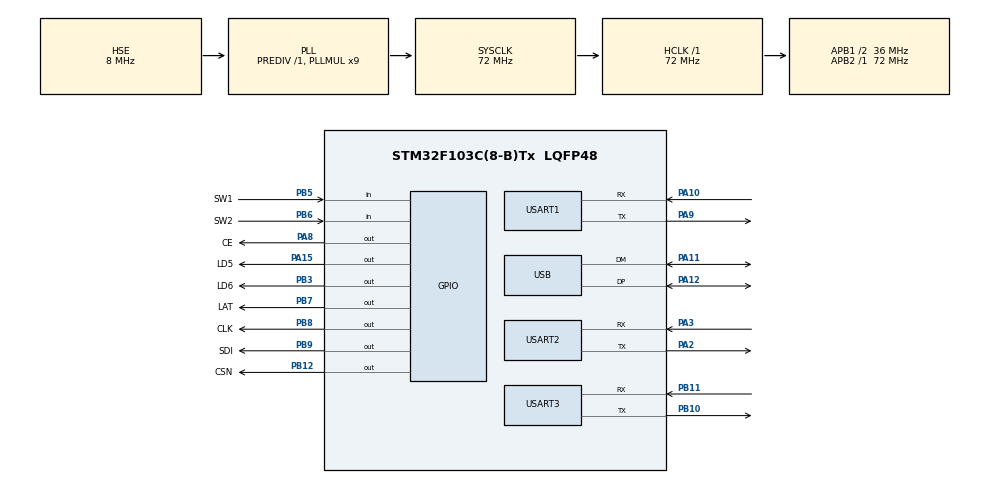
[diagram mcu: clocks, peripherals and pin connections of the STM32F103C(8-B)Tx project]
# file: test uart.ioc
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Mcu.Family=STM32F1
Mcu.Name=STM32F103C(8-B)Tx
Mcu.Package=LQFP48
NVIC.PriorityGroup=NVIC_PRIORITYGROUP_4
NVIC.USART1_IRQn=true\:0\:0\:false\:false\:true\:true\:true
NVIC.USART2_IRQn=true\:0\:0\:false\:false\:true\:true\:true
NVIC.USART3_IRQn=true\:0\:0\:false\:false\:true\:true\:true
NVIC.USB_LP_CAN1_RX0_IRQn=true\:0\:0\:false\:false\:true\:false\:true
PA0-WKUP.GPIO_Label=POT3
PA0-WKUP.Signal=ADCx_IN0
PA1.GPIO_Label=POT2
PA1.Signal=ADCx_IN1
PA10.Mode=Asynchronous
PA10.Signal=USART1_RX
PA11.Mode=Device
PA11.Signal=USB_DM
PA12.Mode=Device
PA12.Signal=USB_DP
PA13.GPIO_Label=SWDIO
PA13.Mode=Serial_Wire
PA13.Signal=SYS_JTMS-SWDIO
PA14.GPIO_Label=SWCLK
PA14.Mode=Serial_Wire
PA14.Signal=SYS_JTCK-SWCLK
PA15.GPIO_Label=LD5
PA15.GPIO_ModeDefaultOutputPP=GPIO_MODE_OUTPUT_PP
PA15.GPIO_PuPd=GPIO_NOPULL
PA15.GPIO_Speed=GPIO_SPEED_FREQ_HIGH
PA15.PinState=GPIO_PIN_RESET
PA15.Signal=GPIO_Output
PA2.Mode=Asynchronous
PA2.Signal=USART2_TX
PA3.Mode=Asynchronous
PA3.Signal=USART2_RX
PA8.GPIO_Label=CE
PA8.GPIO_Speed=GPIO_SPEED_FREQ_HIGH
PA8.Signal=GPIO_Output
PA9.Mode=Asynchronous
PA9.Signal=USART1_TX
PB10.Mode=Asynchronous
PB10.Signal=USART3_TX
PB11.Mode=Asynchronous
PB11.Signal=USART3_RX
PB12.GPIO_Label=CSN
PB12.GPIO_Speed=GPIO_SPEED_FREQ_HIGH
PB12.Signal=GPIO_Output
PB13.GPIO_Label=SCK
PB13.Signal=SPI2_SCK
PB14.GPIO_Label=MISO
PB14.Signal=SPI2_MISO
PB15.GPIO_Label=MOSI
PB15.Signal=SPI2_MOSI
PB3.GPIO_Label=LD6
PB3.GPIO_ModeDefaultOutputPP=GPIO_MODE_OUTPUT_PP
PB3.GPIO_PuPd=GPIO_NOPULL
PB3.GPIO_Speed=GPIO_SPEED_FREQ_HIGH
PB3.PinState=GPIO_PIN_RESET
PB3.Signal=GPIO_Output
PB5.GPIO_Label=SW1
PB5.GPIO_Mode=GPIO_MODE_INPUT
PB5.GPIO_PuPd=GPIO_NOPULL
PB5.Signal=GPIO_Input
PB6.GPIO_Label=SW2
PB6.GPIO_Mode=GPIO_MODE_INPUT
PB6.GPIO_PuPd=GPIO_NOPULL
PB6.Signal=GPIO_Input
PB7.GPIO_Label=LAT
PB7.GPIO_ModeDefaultOutputPP=GPIO_MODE_OUTPUT_OD
PB7.GPIO_Speed=GPIO_SPEED_FREQ_HIGH
PB7.PinState=GPIO_PIN_RESET
PB7.Signal=GPIO_Output
PB8.GPIO_Label=CLK
PB8.GPIO_ModeDefaultOutputPP=GPIO_MODE_OUTPUT_OD
PB8.GPIO_Speed=GPIO_SPEED_FREQ_HIGH
PB8.PinState=GPIO_PIN_RESET
PB8.Signal=GPIO_Output
PB9.GPIO_Label=SDI
PB9.GPIO_ModeDefaultOutputPP=GPIO_MODE_OUTPUT_OD
PB9.GPIO_Speed=GPIO_SPEED_FREQ_HIGH
PB9.PinState=GPIO_PIN_RESET
PB9.Signal=GPIO_Output
PD0-OSC_IN.GPIO_Label=OSC_IN
PD0-OSC_IN.Mode=HSE-External-Oscillator
PD0-OSC_IN.Signal=RCC_OSC_IN
PD1-OSC_OUT.GPIO_Label=OSC_OUT
PD1-OSC_OUT.Mode=HSE-External-Oscillator
PD1-OSC_OUT.Signal=RCC_OSC_OUT
ProjectManager.HeapSize=0x200
ProjectManager.StackSize=0x400
ProjectManager.TargetToolchain=MDK-ARM V5.27
RCC.ADCPresc=RCC_ADCPCLK2_DIV6
RCC.AHBFreq_Value=72000000
RCC.APB1CLKDivider=RCC_HCLK_DIV2
RCC.APB1Freq_Value=36000000
RCC.APB1TimFreq_Value=72000000
RCC.APB2Freq_Value=72000000
RCC.APB2TimFreq_Value=72000000
RCC.HCLKFreq_Value=72000000
RCC.PLLMUL=RCC_PLL_MUL9
RCC.PLLSourceVirtual=RCC_PLLSOURCE_HSE
RCC.SYSCLKFreq_VALUE=72000000
RCC.SYSCLKSource=RCC_SYSCLKSOURCE_PLLCLK
RCC.USBFreq_Value=48000000
RCC.USBPrescaler=RCC_USBCLKSOURCE_PLL_DIV1_5
SH.ADCx_IN0.0=ADC1_IN0
SH.ADCx_IN1.0=ADC1_IN1
USART1.VirtualMode=VM_ASYNC
USART2.VirtualMode=VM_ASYNC
USART3.VirtualMode=VM_ASYNC
USB_DEVICE.CLASS_NAME_FS=CDC
USB_DEVICE.VirtualMode=Cdc
USB_DEVICE.VirtualModeFS=Cdc_FS
VP_USB_DEVICE_VS_USB_DEVICE_CDC_FS.Mode=CDC_FS
board=custom

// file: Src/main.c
/* USER CODE BEGIN Header */
/**
  ******************************************************************************
  * @file           : main.c
  * @brief          : Main program body
  ******************************************************************************
  * @attention
  *
  * Copyright (c) 2023 STMicroelectronics.
  * All rights reserved.
  *
  * This software is licensed under terms that can be found in the LICENSE file
  * in the root directory of this software component.
  * If no LICENSE file comes with this software, it is provided AS-IS.
  *
  ******************************************************************************
  */
/* USER CODE END Header */
#include "main.h"
#include "usart.h"
#include "usb_device.h"
#include "gpio.h"

/* USER CODE BEGIN Includes */

#include "usbd_cdc_if.h"
#include "string.h"

/* USER CODE END Includes */

/* USER CODE BEGIN PV */
uint8_t buffer[2000]; //usb protocol recieve data from pc
uint8_t tx_buffer1[1000]; //usart from micro to pc(uart)
uint8_t tx_buffer2[1000]; //usart from micro to pc(uart)
uint8_t tx_buffer3[1000]; //usart from micro to pc(uart)
uint8_t rx_buffer[100];
extern USBD_HandleTypeDef hUsbDeviceFS;
extern uint8_t CDC_Transmit_FS(uint8_t* Buf, uint16_t Len);

uint16_t oldPos = 0;
uint16_t newPos = 0;

/* USER CODE END PV */

void SystemClock_Config(void);

/* USER CODE BEGIN 0 */

//uart transmits usb recieves
void HAL_UART_TxCpltCallback (UART_HandleTypeDef *huart){
	//HAL_GPIO_TogglePin(GPIOA, GPIO_PIN_15);

	if (huart->Instance == USART2){
	memset (tx_buffer1, '\0', 1000);  // clear the buffer
	USBD_CDC_SetRxBuffer(&hUsbDeviceFS, &tx_buffer1[0]);
  USBD_CDC_ReceivePacket(&hUsbDeviceFS);
	}
	}

//uart recieves usb transfers

	void HAL_UARTEx_RxEventCallback (UART_HandleTypeDef *huart , uint16_t Size)
	{
		//HAL_GPIO_TogglePin(GPIOB, GPIO_PIN_3);
    oldPos = newPos;
		if (huart->Instance == USART2 )
	{
		if (oldPos+Size > 2000)  // If the current position + new data size is greater than the main buffer
		{
			uint16_t datatocopy = 2000-oldPos;  // find out how much space is left in the main buffer
			memcpy ((uint8_t *)buffer+oldPos, rx_buffer, datatocopy);  // copy data in that remaining space
			CDC_Transmit_FS((uint8_t *)buffer+oldPos, datatocopy);

			oldPos = 0;  // point to the start of the buffer
			memcpy ((uint8_t *)buffer, (uint8_t *)rx_buffer+datatocopy, (Size-datatocopy));  // copy the remaining data
			CDC_Transmit_FS((uint8_t *)buffer, (Size-datatocopy));
			newPos = (Size-datatocopy);  // update the position
		}

		else
		{
			memcpy ((uint8_t *)buffer+oldPos, rx_buffer, Size);
			CDC_Transmit_FS((uint8_t *)buffer+oldPos, Size);
			newPos = Size+oldPos;
		}

    HAL_UARTEx_ReceiveToIdle_IT(&huart2, rx_buffer, 100);

	}
}

/* USER CODE END 0 */

int main(void)
{

  /* MCU Configuration--------------------------------------------------------*/

  /* Reset of all peripherals, Initializes the Flash interface and the Systick. */
  HAL_Init();

  /* Configure the system clock */
  SystemClock_Config();

  /* Initialize all configured peripherals */
  MX_GPIO_Init();
  MX_USB_DEVICE_Init();
  MX_USART2_UART_Init();
  MX_USART1_UART_Init();
  MX_USART3_UART_Init();
  /* USER CODE BEGIN 2 */

	HAL_UARTEx_ReceiveToIdle_IT(&huart2, rx_buffer, 100);

  /* USER CODE END 2 */

  /* Infinite loop */
  /* USER CODE BEGIN WHILE */
  while (1)
  {

//		while(CDC_Transmit_FS(rx_buffer, 1000)!=USBD_OK);
//		HAL_Delay(100);

		//transmiting from usb to uart
//		HAL_UART_Transmit(&huart2 , tx_buffer ,7,100);
//		HAL_Delay(300);

		//transmitting from usb to pc
//		CDC_Transmit_FS(buffer, strlen(buffer));
//		HAL_Delay(300);
    /* USER CODE END WHILE */

  }
}

void SystemClock_Config(void)
{
  RCC_OscInitTypeDef RCC_OscInitStruct = {0};
  RCC_ClkInitTypeDef RCC_ClkInitStruct = {0};
  RCC_PeriphCLKInitTypeDef PeriphClkInit = {0};

  /** Initializes the RCC Oscillators according to the specified parameters
  * in the RCC_OscInitTypeDef structure.
  */
  RCC_OscInitStruct.OscillatorType = RCC_OSCILLATORTYPE_HSE;
  RCC_OscInitStruct.HSEState = RCC_HSE_ON;
  RCC_OscInitStruct.HSEPredivValue = RCC_HSE_PREDIV_DIV1;
  RCC_OscInitStruct.HSIState = RCC_HSI_ON;
  RCC_OscInitStruct.PLL.PLLState = RCC_PLL_ON;
  RCC_OscInitStruct.PLL.PLLSource = RCC_PLLSOURCE_HSE;
  RCC_OscInitStruct.PLL.PLLMUL = RCC_PLL_MUL9;
  if (HAL_RCC_OscConfig(&RCC_OscInitStruct) != HAL_OK)
  {
    Error_Handler();
  }
  /** Initializes the CPU, AHB and APB buses clocks
  */
  RCC_ClkInitStruct.ClockType = RCC_CLOCKTYPE_HCLK|RCC_CLOCKTYPE_SYSCLK
                              |RCC_CLOCKTYPE_PCLK1|RCC_CLOCKTYPE_PCLK2;
  RCC_ClkInitStruct.SYSCLKSource = RCC_SYSCLKSOURCE_PLLCLK;
  RCC_ClkInitStruct.AHBCLKDivider = RCC_SYSCLK_DIV1;
  RCC_ClkInitStruct.APB1CLKDivider = RCC_HCLK_DIV2;
  RCC_ClkInitStruct.APB2CLKDivider = RCC_HCLK_DIV1;

  if (HAL_RCC_ClockConfig(&RCC_ClkInitStruct, FLASH_LATENCY_2) != HAL_OK)
  {
    Error_Handler();
  }
  PeriphClkInit.PeriphClockSelection = RCC_PERIPHCLK_USB;
  PeriphClkInit.UsbClockSelection = RCC_USBCLKSOURCE_PLL_DIV1_5;
  if (HAL_RCCEx_PeriphCLKConfig(&PeriphClkInit) != HAL_OK)
  {
    Error_Handler();
  }
}

void Error_Handler(void)
{
  __disable_irq();
  while (1)
  {
  }
}
